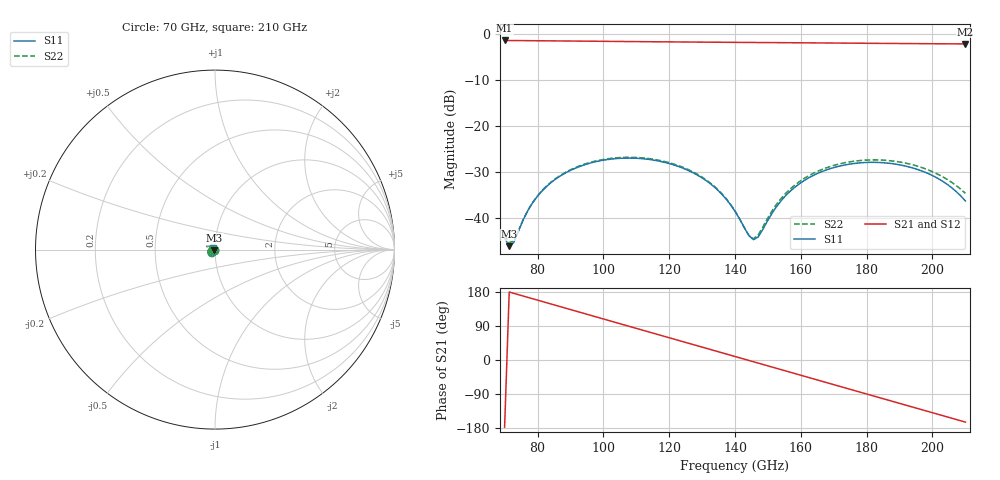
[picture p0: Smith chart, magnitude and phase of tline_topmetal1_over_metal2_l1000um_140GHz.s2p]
#  GHZ S DB R 50
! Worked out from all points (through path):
!   101 points, 70 GHz to 210 GHz, reference 50 ohm
!   highest |S21| = -1.32 dB at 70 GHz (marker M1); lowest = -2.1 dB at 210 GHz (marker M2)
!   group delay of S21, straight-line fit = 6.88 ps
!   lowest |S11| = -46.2 dB at 71.4 GHz (marker M3), VSWR 1.01, Z = 49.7 - j0.365 ohm
!   |S11| at or under -10 dB: start of sweep to end of sweep
!   |S22| runs from -45.5 to -26.8 dB; largest |S21 - S12| = 9.4e-14
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70  -44.42 -156.6  -1.32 -177.2  -1.32 -177.2  -43.72 -156.4
71.4  -46.20 -131.4  -1.32 179.4  -1.32 179.4  -45.49 -133.3
72.8  -45.37 -102.8  -1.33 175.9  -1.33 175.9  -44.95 -106.1
77  -38.53 -74.4  -1.36 165.5  -1.36 165.5  -38.46 -75.6
81.2  -34.29 -76.3  -1.39 155.0  -1.39 155.0  -34.20 -76.6
86.8  -30.94 -86.7  -1.42 141.1  -1.42 141.1  -30.82 -86.5
93.8  -28.56 -103.0  -1.46 123.7  -1.46 123.7  -28.42 -102.4
106.4  -26.99 -134.0  -1.54 92.4  -1.54 92.4  -26.82 -132.9
117.6  -27.74 -161.1  -1.61 64.7  -1.61 64.7  -27.56 -159.7
130.2  -31.40 171.6  -1.68 33.5  -1.68 33.5  -31.23 173.5
135.8  -34.71 163.5  -1.71 19.7  -1.71 19.7  -34.58 165.7
140  -38.58 164.0  -1.73 9.3  -1.73 9.3  -38.53 166.9
144.2  -43.86 -171.8  -1.75 -1.1  -1.75 -1.1  -43.83 -166.8
145.6  -44.79 -152.4  -1.76 -4.6  -1.76 -4.6  -44.58 -146.6
147  -44.23 -132.0  -1.76 -8.1  -1.76 -8.1  -43.81 -126.4
151.2  -39.09 -104.2  -1.78 -18.5  -1.78 -18.5  -38.56 -100.4
155.4  -35.17 -102.6  -1.80 -28.9  -1.80 -28.9  -34.69 -99.2
163.8  -30.77 -115.2  -1.85 -49.7  -1.85 -49.7  -30.30 -111.6
176.4  -28.14 -142.0  -1.91 -80.8  -1.91 -80.8  -27.64 -137.7
187.6  -28.18 -166.9  -1.97 -108.5  -1.97 -108.5  -27.59 -161.5
200.2  -30.87 166.8  -2.03 -139.6  -2.03 -139.6  -30.02 174.4
210  -36.34 154.1  -2.07 -163.8  -2.07 -163.8  -34.67 165.0
